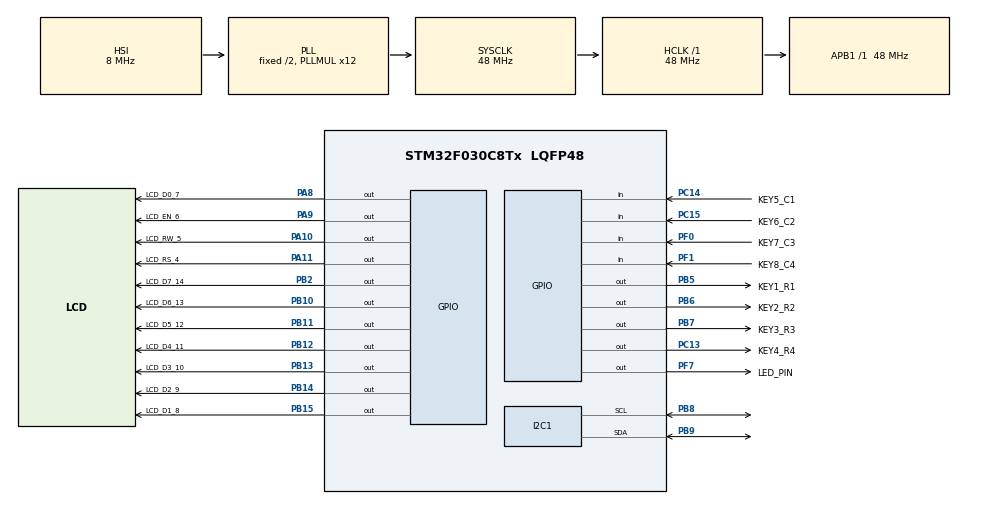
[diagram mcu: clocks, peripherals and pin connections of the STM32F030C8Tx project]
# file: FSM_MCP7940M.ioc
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I2C1.Timing=0x00201D2B
Mcu.Family=STM32F0
Mcu.Name=STM32F030C8Tx
Mcu.Package=LQFP48
NVIC.I2C1_IRQn=true\:0\:0\:false\:false\:true\:true\:true\:true
PA10.GPIO_Label=LCD_RW_5
PA10.Signal=GPIO_Output
PA11.GPIO_Label=LCD_RS_4
PA11.Signal=GPIO_Output
PA8.GPIO_Label=LCD_D0_7
PA8.GPIO_PuPd=GPIO_PULLUP
PA8.Signal=GPIO_Output
PA9.GPIO_Label=LCD_EN_6
PA9.GPIO_PuPd=GPIO_PULLUP
PA9.Signal=GPIO_Output
PB10.GPIO_Label=LCD_D6_13
PB10.Signal=GPIO_Output
PB11.GPIO_Label=LCD_D5_12
PB11.Signal=GPIO_Output
PB12.GPIO_Label=LCD_D4_11
PB12.Signal=GPIO_Output
PB13.GPIO_Label=LCD_D3_10
PB13.Signal=GPIO_Output
PB14.GPIO_Label=LCD_D2_9
PB14.Signal=GPIO_Output
PB15.GPIO_Label=LCD_D1_8
PB15.Signal=GPIO_Output
PB2.GPIO_Label=LCD_D7_14
PB2.Signal=GPIO_Output
PB5.GPIO_Label=KEY1_R1
PB5.Signal=GPIO_Output
PB6.GPIO_Label=KEY2_R2
PB6.Signal=GPIO_Output
PB7.GPIO_Label=KEY3_R3
PB7.Signal=GPIO_Output
PB8.Mode=I2C
PB8.Signal=I2C1_SCL
PB9.Mode=I2C
PB9.Signal=I2C1_SDA
PC13.GPIO_Label=KEY4_R4
PC13.Signal=GPIO_Output
PC14-OSC32_IN.GPIO_Label=KEY5_C1
PC14-OSC32_IN.Signal=GPIO_Input
PC15-OSC32_OUT.GPIO_Label=KEY6_C2
PC15-OSC32_OUT.Signal=GPIO_Input
PF0-OSC_IN.GPIO_Label=KEY7_C3
PF0-OSC_IN.Signal=GPIO_Input
PF1-OSC_OUT.GPIO_Label=KEY8_C4
PF1-OSC_OUT.Signal=GPIO_Input
PF7.GPIO_Label=LED_PIN
PF7.Signal=GPIO_Output
ProjectManager.HeapSize=0x200
ProjectManager.StackSize=0x400
ProjectManager.TargetToolchain=STM32CubeIDE
RCC.AHBFreq_Value=48000000
RCC.APB1Freq_Value=48000000
RCC.APB1TimFreq_Value=48000000
RCC.HCLKFreq_Value=48000000
RCC.PLLMUL=RCC_PLL_MUL12
RCC.SYSCLKFreq_VALUE=48000000
RCC.SYSCLKSource=RCC_SYSCLKSOURCE_PLLCLK
board=custom

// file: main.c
/* USER CODE BEGIN Header */
/**
  **************************
  * @file           : main.c
  * @brief          : Main program body
  **************************
  * @attention
  *
  * Copyright (c) 2025 STMicroelectronics.
  * All rights reserved.
  *
  * This software is licensed under terms that can be found in the LICENSE file
  * in the root directory of this software component.
  * If no LICENSE file comes with this software, it is provided AS-IS.
  *
  **************************
  */
/* USER CODE END Header */
#include "main.h"
#include"LCD_Routine.h"
#include"keypad_routine.h"
#include"RTC_Routine.h"
#include"bcd_routine.h"

I2C_HandleTypeDef hi2c1;

/* USER CODE BEGIN PV */
uint8_t sec, min, hour;
uint8_t wkday, date, month, year,wkday, date_ones, date_tens, month_ones, month_tens, year_ones, year_tens;
uint8_t key_state=0,LED_Status=0;

void LCD_Send_Command(uint8_t cmd);
void Print_LCD_String(uint8_t *ptr);
void keycheck(void);
void key_action(void);
void rtc_disabled(void);
void check_RTC(void);
void Read_Data(uint8_t sec, uint8_t min, uint8_t hour, uint8_t wkday, uint8_t date,uint8_t  month, uint8_t year);
void Write_Data(uint8_t sec_ones,uint8_t sec_tens, uint8_t min_ones,uint8_t min_tens, uint8_t hour_ones,uint8_t hour_tens,
		 	 	uint8_t wkday, uint8_t date_ones,uint8_t date_tens,uint8_t  month_ones,uint8_t month_tens,uint8_t year_ones,
				uint8_t year_tens);
void LCD_Init(void);

extern uint8_t keypressed,Index; //extern defined in another source file but accessed in current file
extern uint8_t user_input[13];
extern uint8_t led_on_h, led_on_m;
extern uint8_t led_off_h, led_off_m;

void LED_Schedule(void)
{
	if(hour==led_on_h && min==led_on_m)
	{
		LED_Status=1;
	}
	if(hour==led_off_h && min==led_off_m)
	{
		LED_Status=0;
	}
	if(LED_Status==1)
	{
		HAL_GPIO_WritePin(LED_PIN_GPIO_Port,LED_PIN_Pin,GPIO_PIN_SET);
	}
	else
	{
		HAL_GPIO_WritePin(LED_PIN_GPIO_Port,LED_PIN_Pin,GPIO_PIN_RESET);
	}
}

/* USER CODE END PV */

void SystemClock_Config(void);
static void MX_GPIO_Init(void);
static void MX_I2C1_Init(void);

int main(void)
{

  /* MCU Configuration--------------------------------------------------------*/

  /* Reset of all peripherals, Initializes the Flash interface and the Systick. */
  HAL_Init();

  /* Configure the system clock */
  SystemClock_Config();

  /* Initialize all configured peripherals */
  MX_GPIO_Init();
  MX_I2C1_Init();
  LCD_Init();

  /* Infinite loop */
  /* USER CODE BEGIN WHILE */
  check_RTC();

  while (1)
  {
	  switch(key_state)
	  	  {
	  	  	  case 0:
	  			  HAL_Delay(900);
	  			  LED_Schedule();
	  			  Read_Data(sec, min, hour,wkday, date, month, year);

	  			  LCD_Send_Command(0x80|0x4c);
	  			  Print_LCD_String((uint8_t *)"nor");

	  			  keycheck();
	  			  key_action();
	  			  if(keypressed=='#'){	key_state=1;	keypressed = 0xFF;	} break;
	  			  if(keypressed=='A'){	key_state=3;	}	break;
	  		  case 1:
	  			  rtc_disabled();  //clock stop
	  			  keycheck();      //keypad data
	  			  key_action();

	  			  LCD_Send_Command(0x80|0x4c);
	  			  Print_LCD_String((uint8_t *)"edit");

	  			  if(keypressed=='D')
	  			  {
	  				  key_state=2;
	  			  	  Index=0;
	  			  	  keypressed=0xff;

	  			  	  LCD_Send_Command(0x80|0x4c);
					  Print_LCD_String((uint8_t *)"");
	  			  	  break;
	  			  }
	  			  break;
	  		  case 2:
	  			  Write_Data(user_input[0], user_input[1], user_input[2], user_input[3], user_input[4], user_input[5], user_input[6],
	  					  	 user_input[7], user_input[8], user_input[9], user_input[10], user_input[11], user_input[12] );
	  			  check_RTC();     //start  //rtc_enabled
	  			  key_state = 0;
	  			  break;
	  	  }

    /* USER CODE END WHILE */

  }
}

void SystemClock_Config(void)
{
  RCC_OscInitTypeDef RCC_OscInitStruct = {0};
  RCC_ClkInitTypeDef RCC_ClkInitStruct = {0};
  RCC_PeriphCLKInitTypeDef PeriphClkInit = {0};

  /** Initializes the RCC Oscillators according to the specified parameters
  * in the RCC_OscInitTypeDef structure.
  */
  RCC_OscInitStruct.OscillatorType = RCC_OSCILLATORTYPE_HSI;
  RCC_OscInitStruct.HSIState = RCC_HSI_ON;
  RCC_OscInitStruct.HSICalibrationValue = RCC_HSICALIBRATION_DEFAULT;
  RCC_OscInitStruct.PLL.PLLState = RCC_PLL_ON;
  RCC_OscInitStruct.PLL.PLLSource = RCC_PLLSOURCE_HSI;
  RCC_OscInitStruct.PLL.PLLMUL = RCC_PLL_MUL12;
  RCC_OscInitStruct.PLL.PREDIV = RCC_PREDIV_DIV1;
  if (HAL_RCC_OscConfig(&RCC_OscInitStruct) != HAL_OK)
  {
    Error_Handler();
  }

  /** Initializes the CPU, AHB and APB buses clocks
  */
  RCC_ClkInitStruct.ClockType = RCC_CLOCKTYPE_HCLK|RCC_CLOCKTYPE_SYSCLK
                              |RCC_CLOCKTYPE_PCLK1;
  RCC_ClkInitStruct.SYSCLKSource = RCC_SYSCLKSOURCE_PLLCLK;
  RCC_ClkInitStruct.AHBCLKDivider = RCC_SYSCLK_DIV1;
  RCC_ClkInitStruct.APB1CLKDivider = RCC_HCLK_DIV1;

  if (HAL_RCC_ClockConfig(&RCC_ClkInitStruct, FLASH_LATENCY_1) != HAL_OK)
  {
    Error_Handler();
  }
  PeriphClkInit.PeriphClockSelection = RCC_PERIPHCLK_I2C1;
  PeriphClkInit.I2c1ClockSelection = RCC_I2C1CLKSOURCE_HSI;
  if (HAL_RCCEx_PeriphCLKConfig(&PeriphClkInit) != HAL_OK)
  {
    Error_Handler();
  }
}

static void MX_I2C1_Init(void)
{

  hi2c1.Instance = I2C1;
  hi2c1.Init.Timing = 0x00201D2B;
  hi2c1.Init.OwnAddress1 = 0;
  hi2c1.Init.AddressingMode = I2C_ADDRESSINGMODE_7BIT;
  hi2c1.Init.DualAddressMode = I2C_DUALADDRESS_DISABLE;
  hi2c1.Init.OwnAddress2 = 0;
  hi2c1.Init.OwnAddress2Masks = I2C_OA2_NOMASK;
  hi2c1.Init.GeneralCallMode = I2C_GENERALCALL_DISABLE;
  hi2c1.Init.NoStretchMode = I2C_NOSTRETCH_DISABLE;
  if (HAL_I2C_Init(&hi2c1) != HAL_OK)
  {
    Error_Handler();
  }

  /** Configure Analogue filter
  */
  if (HAL_I2CEx_ConfigAnalogFilter(&hi2c1, I2C_ANALOGFILTER_ENABLE) != HAL_OK)
  {
    Error_Handler();
  }

  /** Configure Digital filter
  */
  if (HAL_I2CEx_ConfigDigitalFilter(&hi2c1, 0) != HAL_OK)
  {
    Error_Handler();
  }

}

static void MX_GPIO_Init(void)
{
  GPIO_InitTypeDef GPIO_InitStruct = {0};

  /* GPIO Ports Clock Enable */
  __HAL_RCC_GPIOC_CLK_ENABLE();
  __HAL_RCC_GPIOF_CLK_ENABLE();
  __HAL_RCC_GPIOB_CLK_ENABLE();
  __HAL_RCC_GPIOA_CLK_ENABLE();

  /*Configure GPIO pin Output Level */
  HAL_GPIO_WritePin(KEY4_R4_GPIO_Port, KEY4_R4_Pin, GPIO_PIN_RESET);

  /*Configure GPIO pin Output Level */
  HAL_GPIO_WritePin(GPIOB, LCD_D7_14_Pin|LCD_D6_13_Pin|LCD_D5_12_Pin|LCD_D4_11_Pin
                          |LCD_D3_10_Pin|LCD_D2_9_Pin|LCD_D1_8_Pin|KEY1_R1_Pin
                          |KEY2_R2_Pin|KEY3_R3_Pin, GPIO_PIN_RESET);

  /*Configure GPIO pin Output Level */
  HAL_GPIO_WritePin(GPIOA, LCD_D0_7_Pin|LCD_EN_6_Pin|LCD_RW_5_Pin|LCD_RS_4_Pin, GPIO_PIN_RESET);

  /*Configure GPIO pin Output Level */
  HAL_GPIO_WritePin(LED_PIN_GPIO_Port, LED_PIN_Pin, GPIO_PIN_RESET);

  /*Configure GPIO pin : KEY4_R4_Pin */
  GPIO_InitStruct.Pin = KEY4_R4_Pin;
  GPIO_InitStruct.Mode = GPIO_MODE_OUTPUT_PP;
  GPIO_InitStruct.Pull = GPIO_NOPULL;
  GPIO_InitStruct.Speed = GPIO_SPEED_FREQ_LOW;
  HAL_GPIO_Init(KEY4_R4_GPIO_Port, &GPIO_InitStruct);

  /*Configure GPIO pins : KEY5_C1_Pin KEY6_C2_Pin */
  GPIO_InitStruct.Pin = KEY5_C1_Pin|KEY6_C2_Pin;
  GPIO_InitStruct.Mode = GPIO_MODE_INPUT;
  GPIO_InitStruct.Pull = GPIO_NOPULL;
  HAL_GPIO_Init(GPIOC, &GPIO_InitStruct);

  /*Configure GPIO pins : KEY7_C3_Pin KEY8_C4_Pin */
  GPIO_InitStruct.Pin = KEY7_C3_Pin|KEY8_C4_Pin;
  GPIO_InitStruct.Mode = GPIO_MODE_INPUT;
  GPIO_InitStruct.Pull = GPIO_NOPULL;
  HAL_GPIO_Init(GPIOF, &GPIO_InitStruct);

  /*Configure GPIO pins : LCD_D7_14_Pin LCD_D6_13_Pin LCD_D5_12_Pin LCD_D4_11_Pin
                           LCD_D3_10_Pin LCD_D2_9_Pin LCD_D1_8_Pin KEY1_R1_Pin
                           KEY2_R2_Pin KEY3_R3_Pin */
  GPIO_InitStruct.Pin = LCD_D7_14_Pin|LCD_D6_13_Pin|LCD_D5_12_Pin|LCD_D4_11_Pin
                          |LCD_D3_10_Pin|LCD_D2_9_Pin|LCD_D1_8_Pin|KEY1_R1_Pin
                          |KEY2_R2_Pin|KEY3_R3_Pin;
  GPIO_InitStruct.Mode = GPIO_MODE_OUTPUT_PP;
  GPIO_InitStruct.Pull = GPIO_NOPULL;
  GPIO_InitStruct.Speed = GPIO_SPEED_FREQ_LOW;
  HAL_GPIO_Init(GPIOB, &GPIO_InitStruct);

  /*Configure GPIO pins : LCD_D0_7_Pin LCD_EN_6_Pin */
  GPIO_InitStruct.Pin = LCD_D0_7_Pin|LCD_EN_6_Pin;
  GPIO_InitStruct.Mode = GPIO_MODE_OUTPUT_PP;
  GPIO_InitStruct.Pull = GPIO_PULLUP;
  GPIO_InitStruct.Speed = GPIO_SPEED_FREQ_LOW;
  HAL_GPIO_Init(GPIOA, &GPIO_InitStruct);

  /*Configure GPIO pins : LCD_RW_5_Pin LCD_RS_4_Pin */
  GPIO_InitStruct.Pin = LCD_RW_5_Pin|LCD_RS_4_Pin;
  GPIO_InitStruct.Mode = GPIO_MODE_OUTPUT_PP;
  GPIO_InitStruct.Pull = GPIO_NOPULL;
  GPIO_InitStruct.Speed = GPIO_SPEED_FREQ_LOW;
  HAL_GPIO_Init(GPIOA, &GPIO_InitStruct);

  /*Configure GPIO pin : LED_PIN_Pin */
  GPIO_InitStruct.Pin = LED_PIN_Pin;
  GPIO_InitStruct.Mode = GPIO_MODE_OUTPUT_PP;
  GPIO_InitStruct.Pull = GPIO_NOPULL;
  GPIO_InitStruct.Speed = GPIO_SPEED_FREQ_LOW;
  HAL_GPIO_Init(LED_PIN_GPIO_Port, &GPIO_InitStruct);

}

void Error_Handler(void)
{
  __disable_irq();
  while (1)
  {
  }
}
